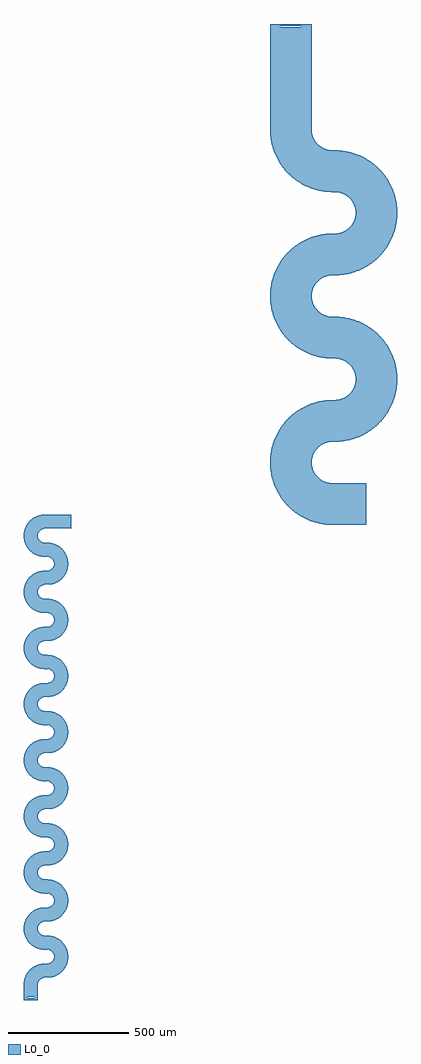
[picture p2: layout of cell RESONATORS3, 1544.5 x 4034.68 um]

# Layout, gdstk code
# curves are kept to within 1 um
import gdstk
lib = gdstk.Library(unit=1e-6, precision=1e-09)
def P(c, l, *ps):  # polygons
    for p in ps: c.add(gdstk.Polygon(p, *l))
L0_0 = (0, 0)

resonators3 = lib.new_cell('RESONATORS3')
P(resonators3, L0_0, [(1498.454,2496.5),(1386.715,2496.445),(1378.024,2494.542),(1369.632,2489.523),(1362.54,2480.426),(1359.514,2468.393),(1361.458,2457.024),(1368.312,2446.681),(1374.78,2441.951),(1382.296,2439.171),(1408.987,2437.866),(1426.88,2433.741),(1308.323,2433.741),(1304.695,2444.138),(1301.857,2459.627),(1302.134,2477.987),(1305.439,2493.383),(1312.722,2510.239),(1321.667,2523.199),(1334.845,2535.985),(1350.414,2545.721),(1365.138,2551.305),(1385.872,2554.46),(1498.454,2554.5)],
  [(1429.351,2432.846),(1443.508,2425.953),(1454.199,2418.333),(1465.333,2407.199),(1472.953,2396.508),(1479.846,2382.351),(1484.075,2367.182),(1485.5,2351.5),(1484.51,2338.41),(1481.561,2325.617),(1411.575,2325.617),(1422.17,2334.745),(1427.157,2347.052),(1426.135,2360.291),(1419.319,2371.688),(1406.436,2379.393),(1370.24,2382.438),(1345.761,2391.722),(1334.845,2399.015),(1323.38,2409.808),(1315.44,2420.263),(1308.323,2433.741)],
  [(1481.409,2325.155),(1475.535,2311.069),(1466.985,2297.845),(1456.192,2286.38),(1443.508,2277.047),(1419.32,2267.028),(1406.373,2264.857),(1383.171,2264.006),(1370.319,2258.093),(1364.326,2251.519),(1360.607,2243.436),(1359.5,2235.5),(1360.865,2226.709),(1301.954,2226.709),(1302.925,2251.182),(1311.465,2275.931),(1325.152,2295.132),(1345.761,2311.278),(1370.24,2320.562),(1402.064,2322.72),(1411.575,2325.617)],
  [(1361.149,2225.862),(1367.681,2215.312),(1377.196,2208.794),(1384.936,2206.72),(1406.373,2206.143),(1421.862,2203.305),(1436.586,2197.721),(1452.155,2187.985),(1465.333,2175.199),(1474.278,2162.239),(1480.741,2147.88),(1484.643,2131.621),(1424.845,2131.621),(1418.688,2140.319),(1408.976,2146.542),(1401.176,2148.376),(1378.013,2149.134),(1365.138,2151.695),(1350.414,2157.279),(1334.845,2167.015),(1321.667,2179.801),(1312.722,2192.761),(1305.439,2209.617),(1301.954,2226.709)],
  [(1484.866,2129.987),(1484.51,2106.41),(1476.721,2081.414),(1461.848,2059.868),(1441.239,2043.722),(1424.383,2036.439),(1406.373,2032.857),(1385.824,2032.376),(1377.196,2030.206),(1305.71,2030.206),(1311.465,2043.931),(1320.015,2057.155),(1330.808,2068.62),(1343.492,2077.953),(1365.138,2087.305),(1380.627,2090.143),(1403.829,2090.994),(1417.368,2097.477),(1423.615,2105),(1426.829,2113.296),(1427.28,2123.064),(1424.845,2131.621),(1484.643,2131.621)],
  [(1376.379,2029.845),(1365.907,2021.681),(1359.994,2008.829),(1360.607,1995.564),(1367.681,1983.312),(1380.564,1975.607),(1416.76,1972.562),(1441.239,1963.278),(1452.155,1955.985),(1463.62,1945.192),(1471.56,1934.737),(1478.677,1921.259),(1360.12,1921.259),(1341.263,1930.44),(1325.152,1943.868),(1311.465,1963.069),(1303.438,1985.24),(1301.659,2008.753),(1305.71,2030.206)],
  [(1478.878,1920.793),(1484.866,1897.987),(1484.51,1874.41),(1477.835,1851.794),(1465.333,1831.801),(1325.801,1831.801),(1341.263,1844.56),(1360.12,1853.741),(1375.41,1857.51),(1401.176,1858.624),(1410.621,1861.155),(1419.319,1867.312),(1425.542,1877.024),(1427.486,1886.607),(1426.135,1896.291),(1421.642,1904.976),(1414.519,1911.674),(1403.829,1916.006),(1378.013,1917.134),(1360.12,1921.259)],
  [(1463.62,1829.808),(1450.062,1817.426),(1434.206,1808.165),(1411.59,1801.49),(1379.709,1799.135),(1370.319,1794.093),(1363.385,1786),(1359.994,1776.829),(1359.843,1767.052),(1363.385,1757),(1369.632,1749.477),(1383.171,1742.994),(1414.182,1741.075),(1307,1741.075),(1301.659,1766.247),(1303.438,1789.76),(1311.465,1811.931),(1325.801,1831.801),(1465.333,1831.801)],
  [(1416.76,1740.562),(1431.793,1735.878),(1447.922,1727.1),(1461.848,1715.132),(1472.953,1700.508),(1480.741,1683.88),(1484.866,1665.987),(1485.143,1647.627),(1482.214,1631.83),(1415.255,1631.83),(1423.615,1641),(1427.445,1653.715),(1425.542,1665.976),(1418.037,1676.931),(1405.573,1683.624),(1372.818,1685.925),(1350.414,1693.279),(1330.808,1706.38),(1314.047,1726.492),(1307,1741.075)],
  [(1481.561,1629.617),(1475.535,1615.069),(1466.985,1601.845),(1456.192,1590.38),(1443.508,1581.047),(1419.32,1571.028),(1406.373,1568.857),(1383.171,1568.006),(1370.319,1562.093),(1364.83,1556.255),(1360.865,1548.291),(1359.5,1539.5),(1360.607,1531.564),(1301.864,1531.564),(1302.925,1555.182),(1311.465,1579.931),(1325.152,1599.132),(1345.761,1615.278),(1367.68,1623.972),(1380.627,1626.143),(1402.948,1626.843),(1415.255,1631.83),(1482.214,1631.83)],
  [(1360.865,1530.709),(1367.069,1519.963),(1377.196,1512.794),(1384.936,1510.72),(1406.373,1510.143),(1421.862,1507.305),(1436.586,1501.721),(1452.155,1491.985),(1465.333,1479.199),(1474.278,1466.239),(1481.561,1449.383),(1484.956,1433.138),(1425.851,1433.138),(1419.319,1443.688),(1409.804,1450.206),(1402.064,1452.28),(1380.627,1452.857),(1365.138,1455.695),(1350.414,1461.279),(1334.845,1471.015),(1321.667,1483.801),(1312.722,1496.761),(1305.439,1513.617),(1301.864,1531.564)],
  [(1485.136,1431.436),(1484.075,1407.818),(1475.535,1383.069),(1461.848,1363.868),(1441.239,1347.722),(1419.32,1339.028),(1406.373,1336.857),(1384.052,1336.157),(1371.324,1330.862),(1304.695,1330.862),(1310.279,1345.586),(1318.426,1359.062),(1328.868,1370.848),(1341.263,1380.56),(1365.138,1391.305),(1380.627,1394.143),(1403.829,1394.994),(1417.368,1401.477),(1423.156,1408.233),(1426.393,1415.564),(1427.486,1424.393),(1425.851,1433.138),(1484.956,1433.138)],
  [(1371.024,1330.642),(1362.951,1321.22),(1359.555,1309.285),(1361.458,1297.024),(1367.681,1287.312),(1380.564,1279.607),(1416.76,1276.562),(1431.793,1271.878),(1443.508,1265.953),(1454.199,1258.333),(1465.333,1247.199),(1474.278,1234.239),(1480.516,1220.5),(1375.41,1221.49),(1350.414,1229.279),(1339.078,1235.9),(1326.982,1245.982),(1314.047,1262.492),(1304.695,1284.138),(1301.5,1307.5),(1304.695,1330.862)],
  [(1481.561,1217.383),(1485.5,1191.5),(1484.51,1178.41),(1480.741,1163.12),(1475.535,1151.069),(1466.985,1137.845),(1447.922,1119.9),(1313.692,1119.9),(1328.868,1138.848),(1350.414,1153.721),(1372.818,1161.075),(1406.436,1163.607),(1413.767,1166.844),(1420.523,1172.632),(1424.845,1179.379),(1427.157,1187.052),(1427.157,1195.948),(1424.845,1203.621),(1420.523,1210.368),(1413.767,1216.156),(1406.436,1219.393),(1398.5,1220.5),(1480.516,1220.5)],
  [(1445.737,1118.44),(1431.793,1111.122),(1419.32,1107.028),(1406.373,1104.857),(1384.936,1104.28),(1374.78,1101.049),(1368.312,1096.319),(1362.951,1089.22),(1360.171,1081.704),(1359.624,1072.824),(1364.83,1058.745),(1375.574,1049.54),(1384.052,1046.843),(1408.987,1045.866),(1424.383,1042.561),(1438.931,1036.535),(1454.199,1026.333),(1316.73,1026.333),(1305.439,1049.617),(1301.54,1072.872),(1304.028,1096.32),(1313.692,1119.9),(1447.922,1119.9)],
  [(1456.192,1024.62),(1472.953,1004.508),(1482.972,980.32),(1485.341,954.247),(1479.812,928.562),(1370.24,928.562),(1403.829,930.994),(1417.368,937.477),(1423.615,945),(1427.006,954.171),(1427.157,963.948),(1424.049,973.22),(1417.368,981.523),(1407.291,987.135),(1372.818,989.925),(1350.414,997.279),(1330.808,1010.38),(1316.73,1026.333),(1454.199,1026.333)],
  [(1478.878,926.207),(1471.56,912.263),(1463.62,901.808),(1452.155,891.015),(1441.239,883.722),(1416.76,874.438),(1380.564,871.393),(1373.233,868.156),(1367.069,863.037),(1360.376,850.573),(1360.376,836.427),(1367.069,823.963),(1378.862,816.149),(1305.921,816.149),(1302.49,830.41),(1301.5,843.5),(1302.49,856.59),(1306.259,871.88),(1311.465,883.931),(1320.015,897.155),(1330.808,908.62),(1341.263,916.56),(1355.207,923.878),(1370.24,928.562),(1479.812,928.562)],
  [(1379.709,815.865),(1408.987,813.866),(1426.88,809.741),(1445.737,800.56),(1460.018,789.018),(1472.953,772.508),(1482.305,750.862),(1485.46,730.128),(1483.562,709.24),(1421.027,709.24),(1426.393,719.564),(1427.28,731.064),(1423.615,742),(1415.976,750.642),(1403.829,756.006),(1378.013,757.134),(1360.12,761.259),(1341.263,770.44),(1326.982,781.982),(1314.047,798.492),(1305.921,816.149)],
  [(1482.972,706.68),(1477.835,691.794),(1470.1,678.078),(1458.132,664.152),(1445.737,654.44),(1431.793,647.122),(1419.32,643.028),(1379.872,639.187),(1372.026,635.367),(1365.672,629.385),(1361.707,622.598),(1359.619,614.124),(1359.5,548.281),(1301.5,548.281),(1301.5,562.281),(1316,562.281),(1316,555.281),(1345,555.281),(1345,562.281),(1301.5,562.281),(1301.54,614.128),(1304.028,632.32),(1314.047,656.508),(1330.808,676.62),(1343.492,685.953),(1360.12,693.741),(1378.013,697.866),(1405.573,699.376),(1413.767,702.844),(1421.027,709.24),(1483.562,709.24)],
  [(2718.209,2684.4),(2574.93,2684.455),(2561.222,2686.052),(2546.513,2690.372),(2524.038,2703.437),(2506.494,2722.621),(2495.484,2746.171),(2492.014,2771.935),(2320.013,2771.935),(2323.248,2729.59),(2327.836,2707.297),(2334.371,2685.495),(2350.868,2648.027),(2362.537,2628.486),(2375.883,2610.049),(2390.801,2592.86),(2407.177,2577.052),(2424.882,2562.749),(2443.778,2550.063),(2463.719,2539.091),(2484.55,2529.919),(2523.765,2518.165),(2546.206,2514.366),(2568.895,2512.561),(2718.209,2512.4)],
  [(2492.055,2773.47),(2495.484,2794.629),(2504.039,2814.283),(2517.189,2831.211),(2534.117,2844.361),(2547.946,2850.978),(2561.222,2854.748),(2628.81,2859.648),(2659.892,2866.619),(2685.68,2875.606),(2710.373,2887.268),(2737.43,2904.079),(2762.209,2924.097),(2784.333,2947.016),(2389.94,2947.016),(2373.084,2927.159),(2360.066,2908.489),(2348.744,2888.745),(2339.206,2868.08),(2331.526,2846.654),(2324.847,2820.175),(2321.445,2797.67),(2320.013,2771.935),(2492.014,2771.935)],
  [(2787.256,2950.507),(2800.925,2968.705),(2812.937,2988.038),(2823.198,3008.354),(2831.629,3029.495),(2838.164,3051.297),(2842.752,3073.59),(2845.357,3096.201),(2845.959,3119.003),(2673.877,3119.003),(2672.035,3096.119),(2664.204,3074.538),(2650.943,3055.798),(2633.196,3041.234),(2619.487,3034.372),(2604.778,3030.052),(2537.19,3025.152),(2510.492,3019.411),(2484.55,3010.881),(2455.627,2997.532),(2432.305,2983.325),(2410.616,2966.733),(2389.94,2947.016),(2784.333,2947.016)],
  [(2845.839,3123.505),(2844.034,3146.194),(2839.239,3173.078),(2833.09,3194.992),(2825.033,3216.279),(2815.132,3236.773),(2800.925,3260.095),(2787.256,3278.293),(2772.036,3295.217),(2378.171,3295.217),(2397.183,3274.364),(2421.241,3253.484),(2447.688,3235.728),(2476.121,3221.367),(2497.408,3213.31),(2523.765,3206.165),(2555.262,3201.404),(2601.757,3199.293),(2618.054,3194.978),(2631.883,3188.361),(2648.811,3175.211),(2661.961,3158.283),(2670.071,3140.098),(2673.877,3119.003),(2845.959,3119.003)],
  [(2768.817,3298.436),(2748.351,3316.517),(2726.089,3332.334),(2702.281,3345.709),(2677.191,3356.493),(2651.103,3364.564),(2628.81,3369.152),(2561.222,3374.052),(2546.513,3378.372),(2532.804,3385.234),(2515.057,3399.798),(2501.097,3419.905),(2493.652,3441.622),(2492.342,3466.065),(2320.123,3466.065),(2320.643,3440.201),(2323.248,3417.59),(2327.836,3395.297),(2334.371,3373.495),(2342.802,3352.354),(2353.063,3332.038),(2378.171,3295.217),(2772.036,3295.217)],
  [(2492.493,3467.593),(2496.899,3487.011),(2505.652,3504.895),(2518.284,3520.287),(2534.117,3532.361),(2547.946,3538.978),(2564.243,3543.293),(2610.738,3545.404),(2642.235,3550.165),(2668.592,3557.31),(2689.879,3565.367),(2718.312,3579.728),(2744.759,3597.484),(2768.817,3618.364),(2790.117,3642.049),(2396.796,3642.049),(2378.744,3622.293),(2365.075,3604.095),(2350.868,3580.773),(2340.967,3560.279),(2332.91,3538.992),(2325.765,3512.635),(2321.966,3490.194),(2320.123,3466.065),(2492.342,3466.065)],
  [(2792.916,3645.641),(2805.934,3664.311),(2817.256,3684.055),(2826.794,3704.72),(2834.474,3726.146),(2840.235,3748.165),(2844.034,3770.606),(2845.835,3811.593),(2673.507,3811.593),(2672.634,3787.13),(2665.578,3765.284),(2651.979,3744.931),(2633.196,3729.234),(2619.487,3722.372),(2604.778,3718.052),(2537.19,3713.152),(2514.897,3708.564),(2488.809,3700.493),(2463.719,3689.709),(2439.911,3676.334),(2417.649,3660.517),(2396.796,3642.049),(2790.117,3642.049)],
  [(2845.638,3816.054),(2843.433,3838.707),(2838.164,3865.503),(2830.093,3891.591),(2821.29,3912.581),(2810.672,3932.712),(2798.321,3951.83),(2784.333,3969.784),(2765.54,3989.599),(2373.117,3989.599),(2397.183,3962.364),(2421.241,3941.484),(2447.688,3923.728),(2476.121,3909.367),(2497.408,3901.31),(2523.765,3894.165),(2555.262,3889.404),(2601.757,3887.293),(2618.054,3882.978),(2631.883,3876.361),(2647.716,3864.287),(2660.348,3848.895),(2669.101,3831.011),(2673.507,3811.593),(2845.835,3811.593)],
  [(2762.209,3992.703),(2744.759,4007.316),(2726.089,4020.334),(2706.345,4031.656),(2685.68,4041.194),(2659.892,4050.181),(2633.299,4056.392),(2606.199,4059.757),(2570.421,4060.735),(2552.582,4064.242),(2539.906,4069.297),(2528.19,4076.293),(2517.728,4085.055),(2508.783,4095.361),(2496.79,4118.098),(2492.054,4143.365),(2492,4582.958),(2320,4582.958),(2320,4568.958),(2363,4568.958),(2363,4575.958),(2449,4575.958),(2449,4568.958),(2320,4568.958),(2321.004,4123.662),(2326.761,4087.722),(2335.907,4057.209),(2350.868,4024.027),(2370.349,3993.282),(2373.117,3989.599),(2765.54,3989.599)])

lib.write_gds('RESONATORS3.gds')
